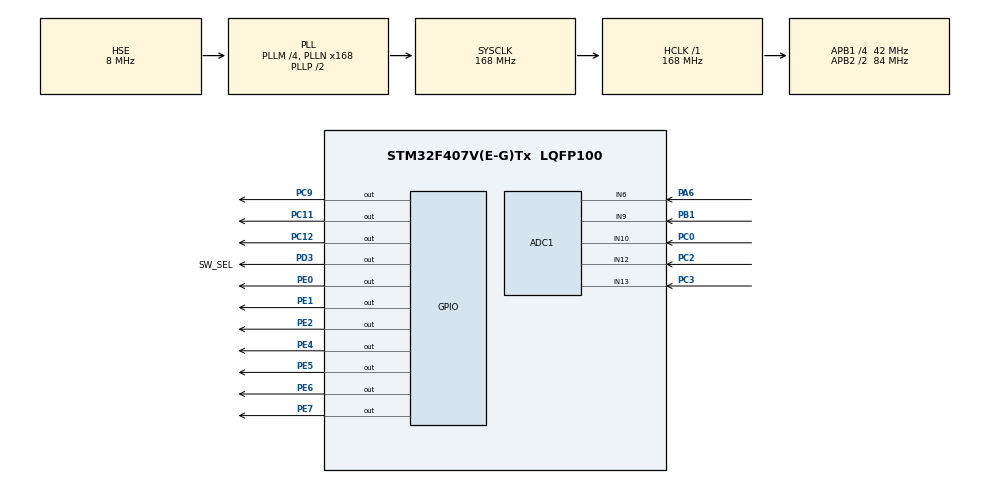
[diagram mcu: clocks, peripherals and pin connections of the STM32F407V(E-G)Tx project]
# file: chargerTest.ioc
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ADC1.Channel-0\#ChannelRegularConversion=ADC_CHANNEL_10
ADC1.Channel-1\#ChannelRegularConversion=ADC_CHANNEL_12
ADC1.Channel-2\#ChannelRegularConversion=ADC_CHANNEL_13
ADC1.Channel-3\#ChannelRegularConversion=ADC_CHANNEL_9
ADC1.Channel-4\#ChannelRegularConversion=ADC_CHANNEL_6
ADC1.ContinuousConvMode=ENABLE
ADC1.DMAContinuousRequests=ENABLE
ADC1.NbrOfConversion=5
ADC1.NbrOfConversionFlag=1
ADC1.Rank-0\#ChannelRegularConversion=1
ADC1.Rank-1\#ChannelRegularConversion=2
ADC1.Rank-2\#ChannelRegularConversion=3
ADC1.Rank-3\#ChannelRegularConversion=4
ADC1.Rank-4\#ChannelRegularConversion=5
ADC1.SamplingTime-0\#ChannelRegularConversion=ADC_SAMPLETIME_84CYCLES
ADC1.SamplingTime-1\#ChannelRegularConversion=ADC_SAMPLETIME_84CYCLES
ADC1.SamplingTime-2\#ChannelRegularConversion=ADC_SAMPLETIME_84CYCLES
ADC1.SamplingTime-3\#ChannelRegularConversion=ADC_SAMPLETIME_84CYCLES
ADC1.SamplingTime-4\#ChannelRegularConversion=ADC_SAMPLETIME_84CYCLES
ADC1.ScanConvMode=ENABLE
ADC1.master=1
Dma.ADC1.0.Direction=DMA_PERIPH_TO_MEMORY
Dma.ADC1.0.FIFOMode=DMA_FIFOMODE_DISABLE
Dma.ADC1.0.Instance=DMA2_Stream0
Dma.ADC1.0.MemDataAlignment=DMA_MDATAALIGN_HALFWORD
Dma.ADC1.0.MemInc=DMA_MINC_ENABLE
Dma.ADC1.0.Mode=DMA_CIRCULAR
Dma.ADC1.0.PeriphDataAlignment=DMA_PDATAALIGN_HALFWORD
Dma.ADC1.0.PeriphInc=DMA_PINC_DISABLE
Dma.ADC1.0.Priority=DMA_PRIORITY_LOW
Dma.Request0=ADC1
Mcu.Family=STM32F4
Mcu.Name=STM32F407V(E-G)Tx
Mcu.Package=LQFP100
NVIC.DMA2_Stream0_IRQn=true\:0\:0\:false\:false\:true\:false\:true\:true
NVIC.PriorityGroup=NVIC_PRIORITYGROUP_4
PA6.Signal=ADCx_IN6
PB1.Signal=ADCx_IN9
PC0.Signal=ADCx_IN10
PC11.Signal=GPIO_Output
PC12.Signal=GPIO_Output
PC2.Signal=ADCx_IN12
PC3.Signal=ADCx_IN13
PC9.Signal=GPIO_Output
PD3.GPIO_Label=SW_SEL
PD3.Signal=GPIO_Output
PE0.Signal=GPIO_Output
PE1.Signal=GPIO_Output
PE2.Signal=GPIO_Output
PE4.Signal=GPIO_Output
PE5.Signal=GPIO_Output
PE6.Signal=GPIO_Output
PE7.Signal=GPIO_Output
PH0-OSC_IN.Mode=HSE-External-Oscillator
PH0-OSC_IN.Signal=RCC_OSC_IN
PH1-OSC_OUT.Mode=HSE-External-Oscillator
PH1-OSC_OUT.Signal=RCC_OSC_OUT
ProjectManager.HeapSize=0x200
ProjectManager.StackSize=0x400
ProjectManager.TargetToolchain=STM32CubeIDE
RCC.48MHZClocksFreq_Value=84000000
RCC.AHBFreq_Value=168000000
RCC.APB1CLKDivider=RCC_HCLK_DIV4
RCC.APB1Freq_Value=42000000
RCC.APB1TimFreq_Value=84000000
RCC.APB2CLKDivider=RCC_HCLK_DIV2
RCC.APB2Freq_Value=84000000
RCC.APB2TimFreq_Value=168000000
RCC.CortexFreq_Value=168000000
RCC.HCLKFreq_Value=168000000
RCC.HSE_VALUE=8000000
RCC.HSI_VALUE=16000000
RCC.LSE_VALUE=32768
RCC.PLLM=4
RCC.PLLN=168
RCC.PLLSourceVirtual=RCC_PLLSOURCE_HSE
RCC.SYSCLKFreq_VALUE=168000000
RCC.SYSCLKSource=RCC_SYSCLKSOURCE_PLLCLK
RCC.VCOOutputFreq_Value=336000000
SH.ADCx_IN10.0=ADC1_IN10,IN10
SH.ADCx_IN12.0=ADC1_IN12,IN12
SH.ADCx_IN13.0=ADC1_IN13,IN13
SH.ADCx_IN6.0=ADC1_IN6,IN6
SH.ADCx_IN9.0=ADC1_IN9,IN9
board=custom

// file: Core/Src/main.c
/* USER CODE BEGIN Header */
/**
  ******************************************************************************
  * @file           : main.c
  * @brief          : Main program body
  ******************************************************************************
  * @attention
  *
  * Copyright (c) 2024 STMicroelectronics.
  * All rights reserved.
  *
  * This software is licensed under terms that can be found in the LICENSE file
  * in the root directory of this software component.
  * If no LICENSE file comes with this software, it is provided AS-IS.
  *
  ******************************************************************************
  */
/* USER CODE END Header */
#include "main.h"
#include "adc.h"
#include "dma.h"
#include "gpio.h"

/* USER CODE BEGIN Includes */
#include "stdio.h"
#include "CLCD.h"
#include "levelmeter.h"
/* USER CODE END Includes */

/* USER CODE BEGIN PD */

/* Define the MPU frequency (in Hz) */
#define SYSTEM_CLOCK 168000000 // 168MHz

/* USER CODE END PD */

void SystemClock_Config(void);
/* USER CODE BEGIN PFP */

void delay_us(uint32_t us);

/* USER CODE END PFP */

int main(void)
{

  /* MCU Configuration--------------------------------------------------------*/

  /* Reset of all peripherals, Initializes the Flash interface and the Systick. */
  HAL_Init();

  /* Configure the system clock */
  SystemClock_Config();

  /* Initialize all configured peripherals */
  MX_GPIO_Init();
  MX_DMA_Init();
  MX_ADC1_Init();
  /* USER CODE BEGIN 2 */
  //CLCD_GPIO_Init();
  //CLCD_Init();
  //CLCD_Puts(0, 0, "Welcome to");

  uint32_t adcval[5];
  HAL_ADC_Start_DMA(&hadc1, adcval, 5);

  uint8_t str[20];

  // BAT_MS ON
  HAL_GPIO_WritePin(GPIOD, GPIO_PIN_3,GPIO_PIN_RESET);
  HAL_Delay(1000);
  HAL_GPIO_WritePin(GPIOD, GPIO_PIN_3,GPIO_PIN_SET);
  delay_us(370);
  HAL_GPIO_WritePin(GPIOD, GPIO_PIN_3,GPIO_PIN_RESET);
  for(uint8_t i = 0;i<10;i++){
	  HAL_GPIO_WritePin(GPIOD, GPIO_PIN_3,GPIO_PIN_SET);
	  delay_us(110);
	  HAL_GPIO_WritePin(GPIOD, GPIO_PIN_3,GPIO_PIN_RESET);
	  delay_us(110);
  }
  HAL_GPIO_WritePin(GPIOD, GPIO_PIN_3,GPIO_PIN_SET);
  delay_us(520);
  HAL_GPIO_WritePin(GPIOD, GPIO_PIN_3,GPIO_PIN_RESET);
  /* USER CODE END 2 */

  /* Infinite loop */
  while (1)
  {

    /* USER CODE BEGIN 3 */
	  //sprintf(&str[0], "%4d %4d",adcval[0], adcval[1]);
	  //CLCD_Puts(0, 0, str);
	  //sprintf(str, "%4d %4d",adcval[2], adcval[4]);
	  //CLCD_Puts(0, 1, str);

	  displayLevel(calculateLevel((uint16_t)adcval[4]));
	  HAL_Delay(200);
  }
  /* USER CODE END 3 */
}

void SystemClock_Config(void)
{
  RCC_OscInitTypeDef RCC_OscInitStruct = {0};
  RCC_ClkInitTypeDef RCC_ClkInitStruct = {0};

  /** Configure the main internal regulator output voltage
  */
  __HAL_RCC_PWR_CLK_ENABLE();
  __HAL_PWR_VOLTAGESCALING_CONFIG(PWR_REGULATOR_VOLTAGE_SCALE1);

  /** Initializes the RCC Oscillators according to the specified parameters
  * in the RCC_OscInitTypeDef structure.
  */
  RCC_OscInitStruct.OscillatorType = RCC_OSCILLATORTYPE_HSE;
  RCC_OscInitStruct.HSEState = RCC_HSE_ON;
  RCC_OscInitStruct.PLL.PLLState = RCC_PLL_ON;
  RCC_OscInitStruct.PLL.PLLSource = RCC_PLLSOURCE_HSE;
  RCC_OscInitStruct.PLL.PLLM = 4;
  RCC_OscInitStruct.PLL.PLLN = 168;
  RCC_OscInitStruct.PLL.PLLP = RCC_PLLP_DIV2;
  RCC_OscInitStruct.PLL.PLLQ = 4;
  if (HAL_RCC_OscConfig(&RCC_OscInitStruct) != HAL_OK)
  {
    Error_Handler();
  }

  /** Initializes the CPU, AHB and APB buses clocks
  */
  RCC_ClkInitStruct.ClockType = RCC_CLOCKTYPE_HCLK|RCC_CLOCKTYPE_SYSCLK
                              |RCC_CLOCKTYPE_PCLK1|RCC_CLOCKTYPE_PCLK2;
  RCC_ClkInitStruct.SYSCLKSource = RCC_SYSCLKSOURCE_PLLCLK;
  RCC_ClkInitStruct.AHBCLKDivider = RCC_SYSCLK_DIV1;
  RCC_ClkInitStruct.APB1CLKDivider = RCC_HCLK_DIV4;
  RCC_ClkInitStruct.APB2CLKDivider = RCC_HCLK_DIV2;

  if (HAL_RCC_ClockConfig(&RCC_ClkInitStruct, FLASH_LATENCY_5) != HAL_OK)
  {
    Error_Handler();
  }
}

/* USER CODE BEGIN 4 */

/* Delay function in microseconds */
void delay_us(uint32_t us) {
    uint32_t count = us * (SYSTEM_CLOCK / 16800000);
    for(uint32_t i = 0; i < count; i++) {
        __NOP(); // 빈 명령어를 사용하여 딜레이 생성
    }
}

/* USER CODE END 4 */

void Error_Handler(void)
{
  __disable_irq();
  while (1)
  {
  }
}
